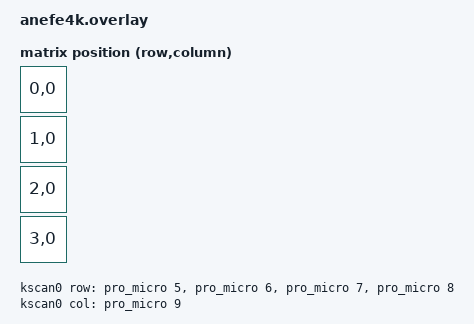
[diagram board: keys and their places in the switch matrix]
#include <dt-bindings/zmk/matrix_transform.h>

/ {
    chosen {
        zmk,kscan = &kscan0;
        zmk,matrix_transform = &transform0;
    };

    kscan0: kscan {
        compatible = "zmk,kscan-gpio-matrix";
        wakeup-source;

        diode-direction = "col2row";

         row-gpios = 
            <&pro_micro 5 (GPIO_ACTIVE_HIGH | GPIO_PULL_DOWN)>, 
            <&pro_micro 6 (GPIO_ACTIVE_HIGH | GPIO_PULL_DOWN)>, 
            <&pro_micro 7 (GPIO_ACTIVE_HIGH | GPIO_PULL_DOWN)>, 
            <&pro_micro 8 (GPIO_ACTIVE_HIGH | GPIO_PULL_DOWN)>
        ;

        col-gpios = 
            <&pro_micro 9 GPIO_ACTIVE_HIGH>
        ;
    };

    transform0: matrix_transform {
        compatible = "zmk,matrix-transform";
        rows = <4>;
        columns = <1>;

        map = <
            RC(0,0)
            RC(1,0)
            RC(2,0)
            RC(3,0)
        >;
    };
};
